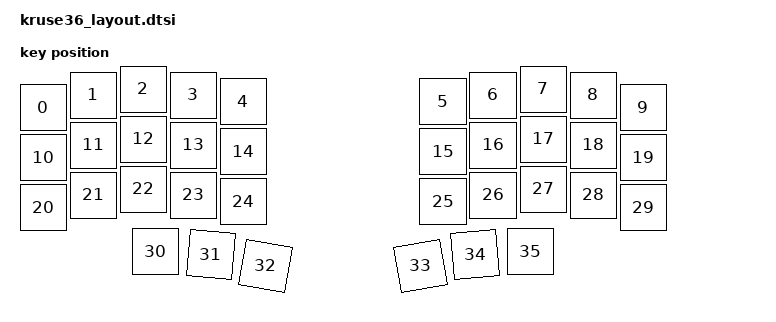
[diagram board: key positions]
#include <physical_layouts.dtsi>

/ {
    kruse36_layout: kruse36_layout {
        compatible = "zmk,physical-layout";
        display-name = "Kruse36";

        keys  //                     w    h     x     y    rot    rx    ry
            = <&key_physical_attrs 100  100     0    37      0     0     0>  /* L row0 pinky */
            , <&key_physical_attrs 100  100   100    12      0     0     0>  /* L row0 ring */
            , <&key_physical_attrs 100  100   200     0      0     0     0>  /* L row0 middle */
            , <&key_physical_attrs 100  100   300    12      0     0     0>  /* L row0 index */
            , <&key_physical_attrs 100  100   400    25      0     0     0>  /* L row0 inner */
            , <&key_physical_attrs 100  100   800    25      0     0     0>  /* R row0 inner */
            , <&key_physical_attrs 100  100   900    12      0     0     0>  /* R row0 index */
            , <&key_physical_attrs 100  100  1000     0      0     0     0>  /* R row0 middle */
            , <&key_physical_attrs 100  100  1100    12      0     0     0>  /* R row0 ring */
            , <&key_physical_attrs 100  100  1200    37      0     0     0>  /* R row0 pinky */
            , <&key_physical_attrs 100  100     0   137      0     0     0>  /* L row1 pinky */
            , <&key_physical_attrs 100  100   100   112      0     0     0>  /* L row1 ring */
            , <&key_physical_attrs 100  100   200   100      0     0     0>  /* L row1 middle */
            , <&key_physical_attrs 100  100   300   112      0     0     0>  /* L row1 index */
            , <&key_physical_attrs 100  100   400   125      0     0     0>  /* L row1 inner */
            , <&key_physical_attrs 100  100   800   125      0     0     0>  /* R row1 inner */
            , <&key_physical_attrs 100  100   900   112      0     0     0>  /* R row1 index */
            , <&key_physical_attrs 100  100  1000   100      0     0     0>  /* R row1 middle */
            , <&key_physical_attrs 100  100  1100   112      0     0     0>  /* R row1 ring */
            , <&key_physical_attrs 100  100  1200   137      0     0     0>  /* R row1 pinky */
            , <&key_physical_attrs 100  100     0   237      0     0     0>  /* L row2 pinky */
            , <&key_physical_attrs 100  100   100   212      0     0     0>  /* L row2 ring */
            , <&key_physical_attrs 100  100   200   200      0     0     0>  /* L row2 middle */
            , <&key_physical_attrs 100  100   300   212      0     0     0>  /* L row2 index */
            , <&key_physical_attrs 100  100   400   225      0     0     0>  /* L row2 inner */
            , <&key_physical_attrs 100  100   800   225      0     0     0>  /* R row2 inner */
            , <&key_physical_attrs 100  100   900   212      0     0     0>  /* R row2 index */
            , <&key_physical_attrs 100  100  1000   200      0     0     0>  /* R row2 middle */
            , <&key_physical_attrs 100  100  1100   212      0     0     0>  /* R row2 ring */
            , <&key_physical_attrs 100  100  1200   237      0     0     0>  /* R row2 pinky */
            , <&key_physical_attrs 100  100   225   325      0     0     0>  /* L thumb inner */
            , <&key_physical_attrs 100  100   300   325    500   298   789>  /* L thumb mid */
            , <&key_physical_attrs 100  100   375   325   1000   298   789>  /* L thumb outer */
            , <&key_physical_attrs 100  100   825   325 (-1000) 1002   789>  /* R thumb outer */
            , <&key_physical_attrs 100  100   900   325  (-500) 1002   789>  /* R thumb mid */
            , <&key_physical_attrs 100  100   975   325      0     0     0>  /* R thumb inner */
            ;
    };
};
